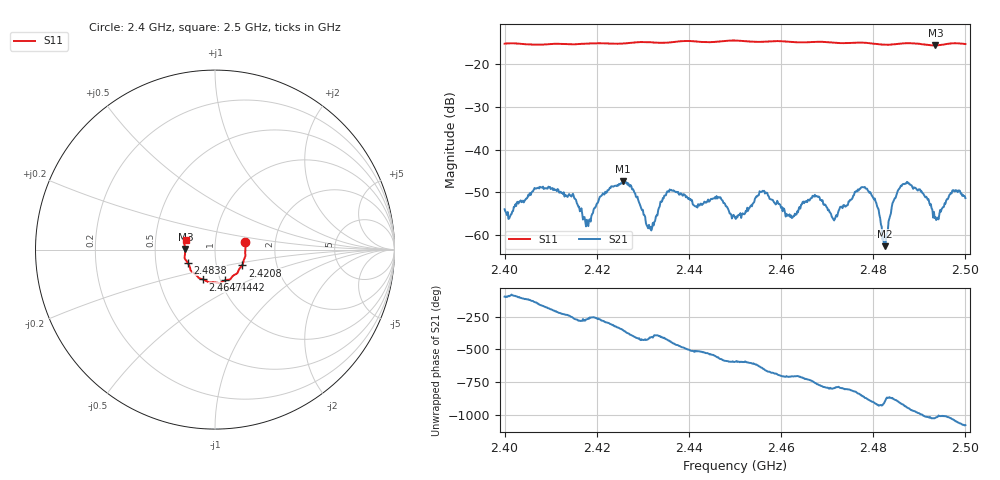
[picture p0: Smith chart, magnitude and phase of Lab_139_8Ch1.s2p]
# Hz S RI R 50
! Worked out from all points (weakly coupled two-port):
!   601 points, 2.4 GHz to 2.5 GHz, reference 50 ohm
!   highest |S21| = -47.37 dB at 2.4257 GHz (marker M1); lowest = -62.6 dB at 2.4825 GHz (marker M2)
!   lowest |S11| = -15.6 dB at 2.4935 GHz (marker M3), VSWR 1.40, Z = 35.8 + j0.201 ohm
!   |S11| at or under -10 dB: start of sweep to end of sweep
!   S12 and S22 are empty: the file has one direction only
!   S11 on the Smith chart (normalised r, x): 2.4 GHz: 1.40, +0.12; 2.4208 GHz: 1.33, -0.24; 2.4442 GHz: 1.05, -0.37; 2.4647 GHz: 0.83, -0.29; 2.4838 GHz: 0.73, -0.11; 2.5 GHz: 0.72, +0.08
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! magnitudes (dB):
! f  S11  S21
! 2.4 GHz  -15.2  -53.9
! 2.4078 GHz  -15.4  -48.8
! 2.4167 GHz  -15.3  -53.7
! 2.4208 GHz  -15.1  -50.9
! 2.4257 GHz  -15.2  -47.4
! 2.4313 GHz  -14.9  -57.6
! 2.4333 GHz  -15.0  -54.1
! 2.4358 GHz  -14.9  -49.3
! 2.4442 GHz  -14.9  -51.7
! 2.45 GHz  -14.5  -55.9
! 2.4558 GHz  -14.8  -49.8
! 2.462 GHz  -14.8  -55.7
! 2.4647 GHz  -14.9  -52.3
! 2.4667 GHz  -14.8  -51.3
! 2.4717 GHz  -15.0  -56.2
! 2.4782 GHz  -15.0  -48.7
! 2.4825 GHz  -15.5  -62.6
! 2.4833 GHz  -15.5  -56.7
! 2.4838 GHz  -15.4  -54.9
! 2.4875 GHz  -15.1  -47.7
! 2.4935 GHz  -15.6  -55.7
! 2.5 GHz  -15.3  -51.3
